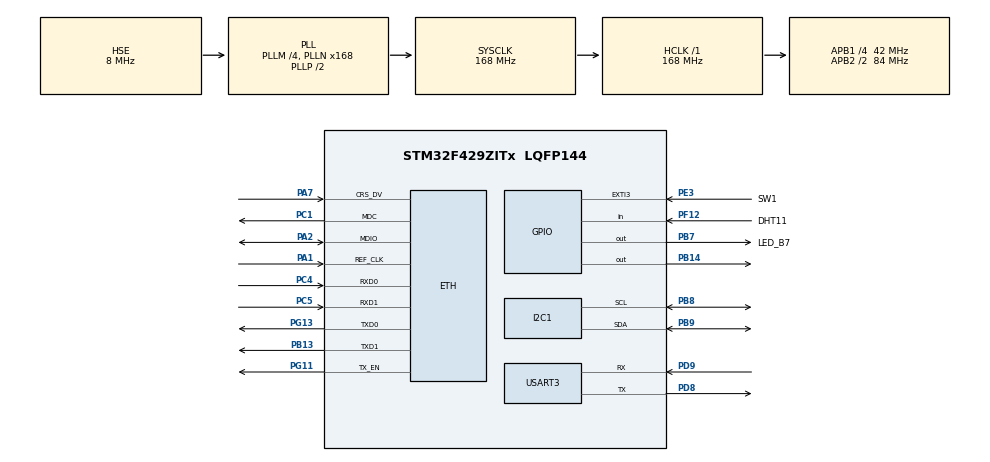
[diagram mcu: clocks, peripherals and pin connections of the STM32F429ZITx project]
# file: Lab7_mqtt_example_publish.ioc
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ETH.MACAddr=00\:80\:E1\:CD\:03\:AD
ETH.MediaInterface=HAL_ETH_RMII_MODE
FREERTOS.Tasks01=defaultTask,24,128,StartDefaultTask,Default,NULL,Dynamic,NULL,NULL
FREERTOS.configTOTAL_HEAP_SIZE=25360
I2C1.I2C_Mode=I2C_Fast
LWIP.BSP.number=1
LWIP.MEMP_NUM_SYS_TIMEOUT=13
LWIP.MEM_SIZE=10*1024
LWIP.Version=v2.1.2_Cube
LWIP0.BSP.STBoard=false
LWIP0.BSP.api=BSP_COMPONENT_DRIVER
LWIP0.BSP.component=LAN8742
LWIP0.BSP.instance=LAN8742
LWIP0.BSP.name=Driver_PHY
LWIP0.BSP.semaphore=S_LAN8742
LWIP0.BSP.solution=LAN8742
Mcu.Family=STM32F4
Mcu.Name=STM32F429ZITx
Mcu.Package=LQFP144
NVIC.ETH_IRQn=true\:5\:0\:false\:false\:true\:true\:false\:true\:true
NVIC.EXTI3_IRQn=true\:5\:0\:true\:false\:true\:true\:true\:true\:true
NVIC.PriorityGroup=NVIC_PRIORITYGROUP_4
NVIC.TIM1_UP_TIM10_IRQn=true\:15\:0\:false\:false\:true\:false\:false\:true\:true
NVIC.TimeBase=TIM1_UP_TIM10_IRQn
NVIC.TimeBaseIP=TIM1
PA1.Mode=RMII
PA1.Signal=ETH_REF_CLK
PA13.Mode=Serial_Wire
PA13.Signal=SYS_JTMS-SWDIO
PA14.Mode=Serial_Wire
PA14.Signal=SYS_JTCK-SWCLK
PA2.Mode=RMII
PA2.Signal=ETH_MDIO
PA7.Mode=RMII
PA7.Signal=ETH_CRS_DV
PB13.Mode=RMII
PB13.Signal=ETH_TXD1
PB14.Signal=GPIO_Output
PB7.GPIO_Label=LED_B7
PB7.Signal=GPIO_Output
PB8.Mode=I2C
PB8.Signal=I2C1_SCL
PB9.Mode=I2C
PB9.Signal=I2C1_SDA
PC1.Mode=RMII
PC1.Signal=ETH_MDC
PC14/OSC32_IN.Mode=LSE-External-Oscillator
PC14/OSC32_IN.Signal=RCC_OSC32_IN
PC15/OSC32_OUT.Mode=LSE-External-Oscillator
PC15/OSC32_OUT.Signal=RCC_OSC32_OUT
PC4.Mode=RMII
PC4.Signal=ETH_RXD0
PC5.Mode=RMII
PC5.Signal=ETH_RXD1
PD8.Mode=Asynchronous
PD8.Signal=USART3_TX
PD9.Mode=Asynchronous
PD9.Signal=USART3_RX
PE3.GPIO_Label=SW1
PE3.Signal=GPXTI3
PF12.GPIO_Label=DHT11
PF12.Signal=GPIO_Input
PG11.Mode=RMII
PG11.Signal=ETH_TX_EN
PG13.Mode=RMII
PG13.Signal=ETH_TXD0
PH0/OSC_IN.Mode=HSE-External-Oscillator
PH0/OSC_IN.Signal=RCC_OSC_IN
PH1/OSC_OUT.Mode=HSE-External-Oscillator
PH1/OSC_OUT.Signal=RCC_OSC_OUT
ProjectManager.HeapSize=0x200
ProjectManager.StackSize=0x400
ProjectManager.TargetToolchain=MDK-ARM V5.32
RCC.48MHZClocksFreq_Value=48000000
RCC.AHBFreq_Value=168000000
RCC.APB1CLKDivider=RCC_HCLK_DIV4
RCC.APB1Freq_Value=42000000
RCC.APB1TimFreq_Value=84000000
RCC.APB2CLKDivider=RCC_HCLK_DIV2
RCC.APB2Freq_Value=84000000
RCC.APB2TimCLKDivider=2
RCC.APB2TimFreq_Value=168000000
RCC.CortexFreq_Value=168000000
RCC.HCLKFreq_Value=168000000
RCC.HSE_VALUE=8000000
RCC.HSI_VALUE=16000000
RCC.PLLM=4
RCC.PLLMUL=RCC_PLL_MUL9
RCC.PLLN=168
RCC.PLLQ=7
RCC.PLLSourceVirtual=RCC_PLLSOURCE_HSE
RCC.PRESCALERUSB=RCC_USBCLKSOURCE_PLL_DIV1_5
RCC.SYSCLKFreq_VALUE=168000000
RCC.SYSCLKSource=RCC_SYSCLKSOURCE_PLLCLK
RCC.SYSCLKSourceVirtual=RCC_SYSCLKSOURCE_PLLCLK
RCC.USBFreq_Value=48000000
RCC.VCOOutputFreq_Value=336000000
TIM2.Prescaler=83
USART3.VirtualMode=VM_ASYNC
VP_FREERTOS_VS_CMSIS_V2.Mode=CMSIS_V2
VP_LWIP_VS_Enabled.Mode=Enabled
VP_SYS_VS_tim1.Mode=TIM1
VP_TIM2_VS_ClockSourceINT.Mode=Internal
board=NUCLEO-F429ZI

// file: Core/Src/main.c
/* USER CODE BEGIN Header */
/**
  ******************************************************************************
  * @file           : main.c
  * @brief          : Main program body
  ******************************************************************************
  * @attention
  *
  * Copyright (c) 2025 STMicroelectronics.
  * All rights reserved.
  *
  * This software is licensed under terms that can be found in the LICENSE file
  * in the root directory of this software component.
  * If no LICENSE file comes with this software, it is provided AS-IS.
  *
  ******************************************************************************
  */
/* USER CODE END Header */
#include "main.h"
#include "cmsis_os.h"
#include "i2c.h"
#include "lwip.h"
#include "tim.h"
#include "usart.h"
#include "gpio.h"

/* USER CODE BEGIN Includes */
#include "lwip/apps/mqtt.h"
#include "FreeRTOS.h"
#include "queue.h"
#include "semphr.h"
#include "string.h"
#include "stdbool.h"
#include "task.h"
#include "dht11.h"
/* USER CODE END Includes */

/* USER CODE BEGIN PD */
typedef enum {
  TOPIC_SET_HUMI_THRESHOLD = 0,
  TOPIC_SET_LED = 1,
	TOPIC_UNDEFINED = 99
} mqtt_topic_t;

/* USER CODE END PD */

/* USER CODE BEGIN PV */
mqtt_client_t *mqttClient = NULL;
mqtt_topic_t mqtt_topic = TOPIC_UNDEFINED;

uint8_t humidity_threshold = 50;

QueueHandle_t queueSwitch;

SemaphoreHandle_t xSemMqttReconnect;
TaskHandle_t handleMQTT;
TaskHandle_t handlePublish;
TaskHandle_t handleControl;
TaskHandle_t handleDHT11;
TaskHandle_t handleLED;
/* USER CODE END PV */

void SystemClock_Config(void);
void MX_FREERTOS_Init(void);
/* USER CODE BEGIN PFP */
void mqtt_connection_cb(mqtt_client_t *mqttClient, void *arg, mqtt_connection_status_t status);
void mqtt_pub_request_cb(void *arg, err_t result);
void taskMQTT(void *pvParameters);
void taskPublish(void *pvParameters);
void taskControll(void *pvParameters);

void HAL_GPIO_EXTI_Callback(uint16_t GPIO_Pin);
/* USER CODE END PFP */

/* USER CODE BEGIN 0 */

/*
 * MQTT Callback Functions
 */
QueueHandle_t queueDHT11;
QueueHandle_t queueSwitch;

struct dht11{
	float Temp;
	float Humi;
};

struct dht11 dht11DATA;

void mqtt_incoming_topic_cb(void *arg, const char *topic, u32_t tot_len) {
  printf("MQTT: Message received on topic: %s\r\n", topic);

  // Determine topic ID
  if (strcmp(topic, "Lab8/Edge/Threshold") == 0) {
    mqtt_topic = TOPIC_SET_HUMI_THRESHOLD;
  } else if (strcmp(topic, "Lab8/Edge/LED") == 0) {
    //mqtt_topic = TOPIC_SET_LED;
		mqtt_topic = TOPIC_UNDEFINED;
	} else{
    mqtt_topic = TOPIC_UNDEFINED;
  }
}

// Incoming data callback
void mqtt_incoming_data_cb(void *arg, const u8_t *data, u16_t len, u8_t flags){
  // Convert incoming data
  char receiveBuffer[len];
  memcpy(receiveBuffer, data, len);
  receiveBuffer[len] = '\0';

  printf("Received message: \"%s\"\r\n", receiveBuffer);

  // Data setting
  switch (mqtt_topic){
    case TOPIC_SET_HUMI_THRESHOLD:
			humidity_threshold = (receiveBuffer[0] - '0') * 10 + (receiveBuffer[1] - '0');
      break;
		/*
    case TOPIC_SET_LED:
      if (strcmp(receiveBuffer, "true") == 0){
				HAL_GPIO_WritePin(GPIOB, GPIO_PIN_14, GPIO_PIN_SET);
			}else {
				HAL_GPIO_WritePin(GPIOB, GPIO_PIN_14, GPIO_PIN_RESET);
			}
      break;
		*/
    default:
      return;
  }
}

// Connection status callback
void mqtt_connection_cb(mqtt_client_t *mqttClient, void *arg, mqtt_connection_status_t status){
  if (status == MQTT_CONNECT_ACCEPTED){
    printf("MQTT connected successfully!\r\n");
    HAL_GPIO_WritePin(LED_B7_GPIO_Port, LED_B7_Pin, GPIO_PIN_SET);
		mqtt_set_inpub_callback(mqttClient, mqtt_incoming_topic_cb, mqtt_incoming_data_cb, NULL);
		mqtt_subscribe(mqttClient, "Lab8/Edge/Threshold", 0, NULL, NULL);
    mqtt_subscribe(mqttClient, "Lab8/Edge/LED", 0, NULL, NULL);
  }else{
    HAL_GPIO_WritePin(LED_B7_GPIO_Port, LED_B7_Pin, GPIO_PIN_RESET);
    printf("MQTT connection failed! Error code: %d\r\n", status);

    xSemaphoreGive(xSemMqttReconnect);
  }
}

// Publish request callback
void mqtt_pub_request_cb(void *arg, err_t result){
  if (result != ERR_OK){
    printf("Publish result: %d\r\n", result);
  }
}

/*
 * Task
 */

// MQTT initial task
void taskMQTT(void *pvParameters){
  MX_LWIP_Init();

  mqttClient = mqtt_client_new();

  struct mqtt_connect_client_info_t mqtt_connect_info = {
    .client_id = "B11117020",
    .client_user = "raymiao",
    .client_pass = "548787",
    .keep_alive = 20,
    .will_topic = "Lab7/Last_will/3",
    .will_msg = "Goodbye client_A!",
    .will_qos = 0,
    .will_retain = 0
  };

  ip_addr_t mqttBrokerAddr;
  IP_ADDR4(&mqttBrokerAddr, 140, 125, 33, 185);

  err_t connectResult;
  while(1){
    if (!mqtt_client_is_connected(mqttClient)){
      connectResult = mqtt_client_connect(mqttClient, &mqttBrokerAddr, MQTT_PORT,
                                               mqtt_connection_cb, NULL, &mqtt_connect_info);
      if (connectResult != ERR_OK){
        printf("MQTT connect returned error: %d\r\n", connectResult);
        if (connectResult == ERR_ISCONN) {
          mqtt_disconnect(mqttClient);
        }
      }
    } else{
      xSemaphoreTake(xSemMqttReconnect, portMAX_DELAY);
    }
    vTaskDelay(1000);
  }
}

void HAL_GPIO_EXTI_Callback(uint16_t GPIO_Pin){
  static uint8_t mode = 0;

  switch (GPIO_Pin){
    case GPIO_PIN_3:
      if (HAL_GPIO_ReadPin(SW1_GPIO_Port, SW1_Pin) == 1){
        mode = 0;
        xQueueSendFromISR(queueSwitch, &mode, NULL);
      }
      break;
  }
}
void taskDHT11(void *pvParm){
	char temp[10];
	char humi[10];

  while(1){
    if(DHT11GetData(&dht11DATA.Humi, &dht11DATA.Temp) == 0){
				printf("Get DHT11 Data successfully\n");
        //xQueueSend(queueDHT11, &dht11DATA, NULL);
				snprintf(temp, sizeof(temp), "%.2f", dht11DATA.Temp);
				snprintf(humi, sizeof(humi), "%.2f", dht11DATA.Humi);

				mqtt_publish(mqttClient, "Lab8/Dashboard/Temperature", temp, strlen(temp), 0, 0, NULL, NULL);
				mqtt_publish(mqttClient, "Lab8/Dashboard/Humidity", humi, strlen(humi), 0, 0, NULL, NULL);
		}
    vTaskDelay(2000);
	}
}

void taskUpdateLED(void* pvParm){
	char led[4];
	char threshold[3];
	while(1){
		if (dht11DATA.Humi >= humidity_threshold){
			HAL_GPIO_WritePin(GPIOB, GPIO_PIN_14, GPIO_PIN_SET);
			strcpy(led, "On");
			mqtt_publish(mqttClient, "Lab8/Dashboard/LED", led, strlen(led), 0, 0, NULL, NULL);
		}else {
			HAL_GPIO_WritePin(GPIOB, GPIO_PIN_14, GPIO_PIN_RESET);
			strcpy(led, "Off");
			mqtt_publish(mqttClient, "Lab8/Dashboard/LED", led, strlen(led), 0, 0, NULL, NULL);
		}
		threshold[0] = humidity_threshold / 10 + '0';
		threshold[1] = humidity_threshold % 10 + '0';
		threshold[2] = '\0';
		mqtt_publish(mqttClient, "Lab8/Dashboard/Threshold", threshold, strlen(threshold), 0, 0, NULL, NULL);
    vTaskDelay(1000);
	}
}

/* USER CODE END 0 */

int main(void)
{

  /* MCU Configuration--------------------------------------------------------*/

  /* Reset of all peripherals, Initializes the Flash interface and the Systick. */
  HAL_Init();

  /* Configure the system clock */
  SystemClock_Config();

  /* Initialize all configured peripherals */
  MX_GPIO_Init();
  MX_USART3_UART_Init();
  MX_I2C1_Init();
  MX_TIM2_Init();
  /* USER CODE BEGIN 2 */
  xSemMqttReconnect = xSemaphoreCreateBinary();
  queueSwitch = xQueueCreate(3, sizeof(uint8_t));
	queueDHT11 = xQueueCreate(3, sizeof(dht11DATA));
  xTaskCreate(taskMQTT, "MQTT init", 1024, NULL, 3, &handleMQTT);
	xTaskCreate(taskDHT11, "DHT11", 512, NULL, 2, &handleDHT11);
	xTaskCreate(taskUpdateLED, "LED", 512, NULL, 2, &handleLED);
	vTaskStartScheduler();
  /* USER CODE END 2 */

  /* Init scheduler */
  osKernelInitialize();  /* Call init function for freertos objects (in freertos.c) */
  MX_FREERTOS_Init();

  /* Start scheduler */
  osKernelStart();

  /* We should never get here as control is now taken by the scheduler */
  /* Infinite loop */
  while (1)
  {

  }
}

void SystemClock_Config(void)
{
  RCC_OscInitTypeDef RCC_OscInitStruct = {0};
  RCC_ClkInitTypeDef RCC_ClkInitStruct = {0};

  /** Configure the main internal regulator output voltage
  */
  __HAL_RCC_PWR_CLK_ENABLE();
  __HAL_PWR_VOLTAGESCALING_CONFIG(PWR_REGULATOR_VOLTAGE_SCALE1);

  /** Initializes the RCC Oscillators according to the specified parameters
  * in the RCC_OscInitTypeDef structure.
  */
  RCC_OscInitStruct.OscillatorType = RCC_OSCILLATORTYPE_HSE;
  RCC_OscInitStruct.HSEState = RCC_HSE_ON;
  RCC_OscInitStruct.PLL.PLLState = RCC_PLL_ON;
  RCC_OscInitStruct.PLL.PLLSource = RCC_PLLSOURCE_HSE;
  RCC_OscInitStruct.PLL.PLLM = 4;
  RCC_OscInitStruct.PLL.PLLN = 168;
  RCC_OscInitStruct.PLL.PLLP = RCC_PLLP_DIV2;
  RCC_OscInitStruct.PLL.PLLQ = 7;
  if (HAL_RCC_OscConfig(&RCC_OscInitStruct) != HAL_OK)
  {
    Error_Handler();
  }

  /** Initializes the CPU, AHB and APB buses clocks
  */
  RCC_ClkInitStruct.ClockType = RCC_CLOCKTYPE_HCLK|RCC_CLOCKTYPE_SYSCLK
                              |RCC_CLOCKTYPE_PCLK1|RCC_CLOCKTYPE_PCLK2;
  RCC_ClkInitStruct.SYSCLKSource = RCC_SYSCLKSOURCE_PLLCLK;
  RCC_ClkInitStruct.AHBCLKDivider = RCC_SYSCLK_DIV1;
  RCC_ClkInitStruct.APB1CLKDivider = RCC_HCLK_DIV4;
  RCC_ClkInitStruct.APB2CLKDivider = RCC_HCLK_DIV2;

  if (HAL_RCC_ClockConfig(&RCC_ClkInitStruct, FLASH_LATENCY_5) != HAL_OK)
  {
    Error_Handler();
  }
}

void HAL_TIM_PeriodElapsedCallback(TIM_HandleTypeDef *htim)
{
  if (htim->Instance == TIM1) {
    HAL_IncTick();
  }
}

void Error_Handler(void)
{
  __disable_irq();
  while (1)
  {
  }
}
